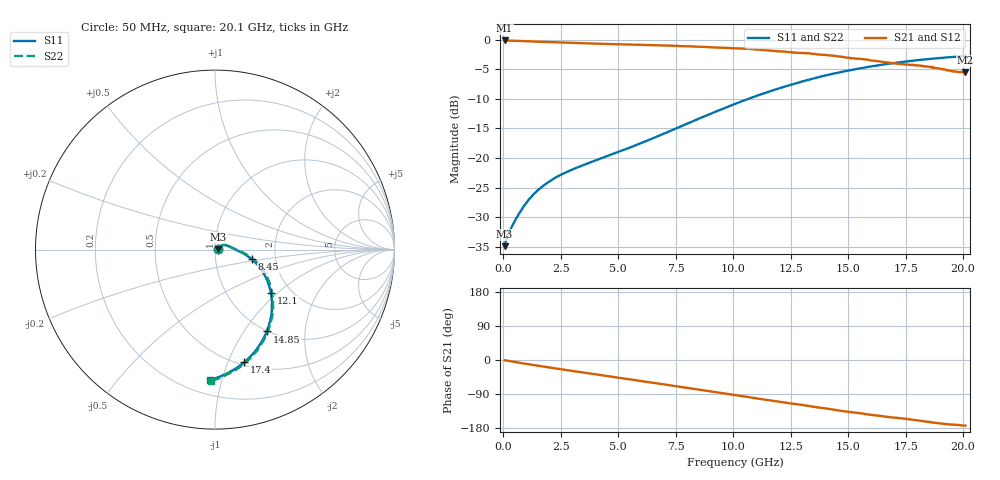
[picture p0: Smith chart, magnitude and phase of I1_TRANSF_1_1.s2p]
! TOUCHSTONE file generated by Touchstone Python Converter
! Date and time: Sep 20 2015 15:48:33
# GHZ S RI R 50
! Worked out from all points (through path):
!   402 points, 50 MHz to 20.1 GHz, reference 50 ohm
!   highest |S21| = -0.16 dB at 50 MHz (marker M1); lowest = -5.6 dB at 20.1 GHz (marker M2)
!   group delay of S21, straight-line fit = 24.4 ps
!   lowest |S11| = -34.9 dB at 50 MHz (marker M3), VSWR 1.04, Z = 51.8 + j0.306 ohm
!   |S11| at or under -10 dB: start of sweep to 10.67 GHz
!   |S22| runs from -34.9 to -2.7 dB; largest |S21 - S12| = 0.016
!   S11 on the Smith chart (normalised r, x): 50 MHz: 1.04, +0.01; 8.45 GHz: 1.51, -0.17; 12.1 GHz: 1.59, -0.90; 14.85 GHz: 0.99, -1.28; 17.4 GHz: 0.53, -1.15; 20.1 GHz: 0.30, -0.92
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0.05  0.0178 0.00295  0.982 -0.0103  0.9822 -0.0105  0.0178 0.00307
0.3  0.0227 0.00999  0.9763 -0.055  0.9764 -0.0544  0.0228 0.00999
0.65  0.0285 0.017  0.9666 -0.1153  0.9667 -0.1148  0.0284 0.0169
1  0.0357 0.0221  0.9524 -0.1729  0.9526 -0.1724  0.0355 0.0221
1.35  0.0436 0.0249  0.9348 -0.2277  0.9348 -0.2273  0.0434 0.0249
2.15  0.0615 0.0244  0.8846 -0.3425  0.8848 -0.3421  0.0609 0.0247
3.4  0.0846 0.0154  0.7854 -0.4991  0.7859 -0.4988  0.0835 0.0161
5.1  0.1146 0.000229  0.6145 -0.6729  0.6146 -0.673  0.1124 0.00256
6.75  0.1524 -0.0188  0.4153 -0.7899  0.4151 -0.7895  0.1506 -0.0142
8.45  0.2053 -0.054  0.1856 -0.8507  0.1856 -0.8502  0.2054 -0.0477
9.05  0.2258 -0.0731  0.1008 -0.8538  0.1024 -0.8554  0.2266 -0.0663
10.1  0.2619 -0.1177  -0.0382 -0.8425  -0.0389 -0.8403  0.2641 -0.1102
11.35  0.2974 -0.1891  -0.2022 -0.7879  -0.1949 -0.791  0.3016 -0.1811
12.1  0.3113 -0.2402  -0.2828 -0.7406  -0.2855 -0.7423  0.3162 -0.2329
13.45  0.3161 -0.3444  -0.4137 -0.6357  -0.4049 -0.6358  0.3227 -0.3391
14.85  0.289 -0.456  -0.5052 -0.4952  -0.501 -0.4982  0.2964 -0.4518
16.15  0.2344 -0.5514  -0.5479 -0.3733  -0.5478 -0.3826  0.2421 -0.5507
16.8  0.1998 -0.593  -0.5562 -0.3148  -0.5593 -0.3155  0.2077 -0.5932
17.4  0.1622 -0.6274  -0.5589 -0.264  -0.5553 -0.2603  0.1711 -0.6291
18.2  0.1095 -0.6673  -0.569 -0.199  -0.5616 -0.2052  0.1163 -0.6695
19.15  0.0435 -0.7008  -0.547 -0.1137  -0.5518 -0.1203  0.0483 -0.7059
20.1  -0.0254 -0.7248  -0.5233 -0.0627  -0.5263 -0.0603  -0.0246 -0.7316
